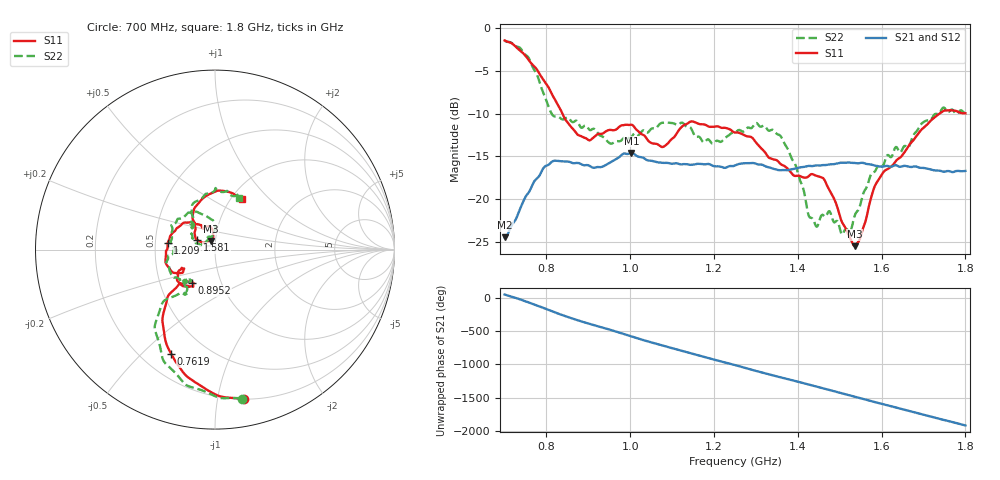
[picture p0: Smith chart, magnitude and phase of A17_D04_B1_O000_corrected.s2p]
! Created with skrf 1.9.0 (http://scikit-rf.org).
# Hz S RI R 50.0
!freq ReS11 ImS11 ReS21 ImS21 ReS12 ImS12 ReS22 ImS22
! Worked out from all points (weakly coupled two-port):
!   1601 points, 700 MHz to 1.8 GHz, reference 50 ohm
!   highest |S21| = -14.62 dB at 1.002 GHz (marker M1); lowest = -24.5 dB at 701.4 MHz (marker M2)
!   lowest |S11| = -25.5 dB at 1.535 GHz (marker M3), VSWR 1.11, Z = 47.5 + j4.51 ohm
!   |S11| at or under -10 dB: 837.8 MHz to 1.738 GHz (900.5 MHz wide, 69.9 % of centre)
!   |S22| runs from -24.1 to -1.5 dB; largest |S21 - S12| = 0.0035
!   S11 on the Smith chart (normalised r, x): 700 MHz: 0.20, -1.19; 761.9 MHz: 0.32, -0.62; 895.2 MHz: 0.72, -0.28; 1.209 GHz: 0.58, +0.05; 1.581 GHz: 0.81, +0.09; 1.8 GHz: 1.12, +0.70
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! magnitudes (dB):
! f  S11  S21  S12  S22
! 700 MHz  -1.4  -24.5  -24.2  -1.5
! 701.4 MHz  -1.5  -24.5  -24.1  -1.5
! 761.9 MHz  -4.0  -18.8  -18.8  -3.9
! 814.1 MHz  -7.8  -15.6  -15.6  -10.1
! 883.6 MHz  -12.7  -15.9  -15.8  -11.7
! 895.2 MHz  -12.9  -16.0  -16.1  -11.4
! 953 MHz  -11.9  -15.7  -15.7  -13.5
! 1.002 GHz  -11.3  -14.6  -14.7  -12.8
! 1.067 GHz  -13.6  -15.7  -15.6  -11.4
! 1.144 GHz  -10.9  -16.0  -16.0  -11.7
! 1.209 GHz  -11.5  -16.2  -16.2  -13.2
! 1.25 GHz  -12.2  -16.1  -16.0  -12.2
! 1.358 GHz  -15.9  -16.6  -16.6  -12.6
! 1.395 GHz  -17.3  -16.4  -16.4  -16.1
! 1.434 GHz  -17.1  -16.1  -16.1  -22.2
! 1.464 GHz  -17.8  -16.0  -16.0  -22.0
! 1.506 GHz  -22.8  -15.7  -15.7  -24.1
! 1.535 GHz  -25.5  -15.8  -15.8  -22.0
! 1.581 GHz  -18.9  -16.0  -16.0  -16.9
! 1.617 GHz  -16.4  -16.2  -16.1  -14.9
! 1.74 GHz  -9.9  -16.7  -16.7  -9.8
! 1.8 GHz  -10.0  -16.7  -16.7  -9.9
